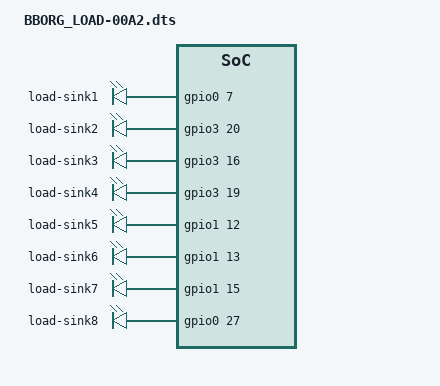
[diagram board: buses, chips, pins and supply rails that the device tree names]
/*
 * Copyright (C) 2020 Deepak Khatri <deepaklorkhatri7@gmail.com>
 *
 * This program is free software; you can redistribute it and/or modify
 * it under the terms of the GNU General Public License version 2 as
 * published by the Free Software Foundation.
 */

/dts-v1/;
/plugin/;

#include <dt-bindings/board/am335x-bbw-bbb-base.h>
#include <dt-bindings/gpio/gpio.h>
#include <dt-bindings/pinctrl/am33xx.h>

/ {
    /*
	 * Helper to show loaded overlays under: /proc/device-tree/chosen/overlays/
	 */
	fragment@0 {
		target-path="/";
		__overlay__ {

			chosen {
				overlays {
					BBORG_LOAD-00A2 = __TIMESTAMP__;
				};
			};
		};
	};

    /*
	 * Free up the pins used by the cape from the pinmux helpers.
	 */
	fragment@1 {
		target = <&ocp>;
		__overlay__ {
            P9_42_pinmux { status = "disabled"; };  /* Sink1 */
            P9_41_pinmux { status = "disabled"; };  /* Sink2 */
            P9_30_pinmux { status = "disabled"; };  /* Sink3 */
            P9_27_pinmux { status = "disabled"; };	/* Sink4 */
			P8_12_pinmux { status = "disabled"; };  /* Sink5 */
            P8_11_pinmux { status = "disabled"; };	/* Sink6 */
			P8_15_pinmux { status = "disabled"; };  /* Sink7 */
			P8_17_pinmux { status = "disabled"; };	/* Sink8 */
		};
	};

    fragment@2 {
		target = <&am33xx_pinmux>;
		__overlay__ {

			bb_gpio_load_pins: pinmux_bb_gpio_load_pins {
				pinctrl-single,pins = <
					BONE_P9_42 (PIN_OUTPUT_PULLDOWN | MUX_MODE7)    /* P9_42: gpio0_7 */
					BONE_P9_41 (PIN_OUTPUT_PULLDOWN | MUX_MODE7)	/* P9_41: gpio3_20 */
					BONE_P9_30 (PIN_OUTPUT_PULLDOWN | MUX_MODE7)	/* P9_30: gpio3_16 */
					BONE_P9_27 (PIN_OUTPUT_PULLDOWN | MUX_MODE7)    /* P9_27: gpio3_19 */
                    BONE_P8_12 (PIN_OUTPUT_PULLDOWN | MUX_MODE7)    /* P8_12: gpio1_12 */
                    BONE_P8_11 (PIN_OUTPUT_PULLDOWN | MUX_MODE7)    /* P8_11: gpio1_13 */
                    BONE_P8_15 (PIN_OUTPUT_PULLDOWN | MUX_MODE7)    /* P8_15: gpio1_15 */
                    BONE_P8_17 (PIN_OUTPUT_PULLDOWN | MUX_MODE7)    /* P8_17: gpio0_27 */
				>;
			};
		};
	};

    fragment@3 {
		target-path="/";
		__overlay__ {

			leds {
				pinctrl-names = "default";
				pinctrl-0 = <&bb_gpio_load_pins>;

				compatible = "gpio-leds";

				sink@1 {
					label = "load-sink1";
					gpios = <&gpio0 7 GPIO_ACTIVE_HIGH>;
					default-state = "keep";
				};

				sink@2 {
					label = "load-sink2";
					gpios = <&gpio3 20 GPIO_ACTIVE_HIGH>;
					default-state = "keep";
				};

				sink@3 {
					label = "load-sink3";
					gpios = <&gpio3 16 GPIO_ACTIVE_HIGH>;
					default-state = "keep";
				};

				sink@4 {
					label = "load-sink4";
					gpios = <&gpio3 19 GPIO_ACTIVE_HIGH>;
					default-state = "keep";
				};

                sink@5 {
					label = "load-sink5";
					gpios = <&gpio1 12 GPIO_ACTIVE_HIGH>;
					default-state = "keep";
				};

                sink@6 {
					label = "load-sink6";
					gpios = <&gpio1 13 GPIO_ACTIVE_HIGH>;
					default-state = "keep";
				};

                sink@7 {
					label = "load-sink7";
					gpios = <&gpio1 15 GPIO_ACTIVE_HIGH>;
					default-state = "keep";
				};

                sink@8 {
					label = "load-sink8";
					gpios = <&gpio0 27 GPIO_ACTIVE_HIGH>;
					default-state = "keep";
				};
			};
		};
	};
};
